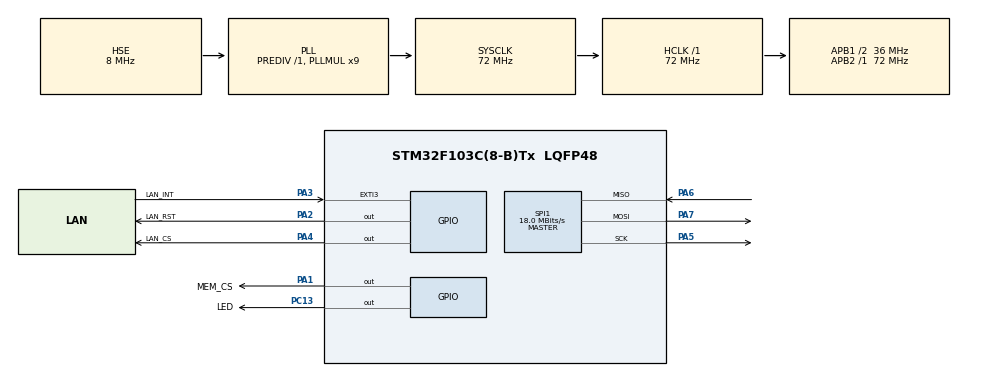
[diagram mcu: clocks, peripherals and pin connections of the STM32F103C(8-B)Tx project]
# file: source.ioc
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Mcu.Family=STM32F1
Mcu.Name=STM32F103C(8-B)Tx
Mcu.Package=LQFP48
NVIC.PriorityGroup=NVIC_PRIORITYGROUP_4
NVIC.RTC_IRQn=true\:0\:0\:false\:false\:true\:true
NVIC.TIM4_IRQn=true\:0\:0\:false\:false\:true\:true
PA1.GPIO_Label=MEM_CS
PA1.Signal=GPIO_Output
PA13.Mode=Serial_Wire
PA13.Signal=SYS_JTMS-SWDIO
PA14.Mode=Serial_Wire
PA14.Signal=SYS_JTCK-SWCLK
PA2.GPIO_Label=LAN_RST
PA2.Signal=GPIO_Output
PA3.GPIO_Label=LAN_INT
PA3.Signal=GPXTI3
PA4.GPIO_Label=LAN_CS
PA4.Signal=GPIO_Output
PA5.Mode=Full_Duplex_Master
PA5.Signal=SPI1_SCK
PA6.Mode=Full_Duplex_Master
PA6.Signal=SPI1_MISO
PA7.Mode=Full_Duplex_Master
PA7.Signal=SPI1_MOSI
PC13-TAMPER-RTC.GPIO_Label=LED
PC13-TAMPER-RTC.Signal=GPIO_Output
PC14-OSC32_IN.Mode=LSE-External-Oscillator
PC14-OSC32_IN.Signal=RCC_OSC32_IN
PC15-OSC32_OUT.Mode=LSE-External-Oscillator
PC15-OSC32_OUT.Signal=RCC_OSC32_OUT
PD0-OSC_IN.Mode=HSE-External-Oscillator
PD0-OSC_IN.Signal=RCC_OSC_IN
PD1-OSC_OUT.Mode=HSE-External-Oscillator
PD1-OSC_OUT.Signal=RCC_OSC_OUT
ProjectManager.HeapSize=0x200
ProjectManager.StackSize=0x400
ProjectManager.TargetToolchain=Other Toolchains (GPDSC)
RCC.AHBFreq_Value=72000000
RCC.APB1CLKDivider=RCC_HCLK_DIV2
RCC.APB1Freq_Value=36000000
RCC.APB1TimFreq_Value=72000000
RCC.APB2Freq_Value=72000000
RCC.APB2TimFreq_Value=72000000
RCC.HCLKFreq_Value=72000000
RCC.PLLMUL=RCC_PLL_MUL9
RCC.PLLSourceVirtual=RCC_PLLSOURCE_HSE
RCC.RTCClockSelection=RCC_RTCCLKSOURCE_LSE
RCC.SYSCLKFreq_VALUE=72000000
RCC.SYSCLKSource=RCC_SYSCLKSOURCE_PLLCLK
RCC.USBFreq_Value=72000000
RTC.Format=RTC_FORMAT_BCD
RTC.OutPut=RTC_OUTPUTSOURCE_NONE
SPI1.BaudRatePrescaler=SPI_BAUDRATEPRESCALER_4
SPI1.CalculateBaudRate=18.0 MBits/s
SPI1.Direction=SPI_DIRECTION_2LINES
SPI1.Mode=SPI_MODE_MASTER
SPI1.VirtualType=VM_MASTER
TIM4.AutoReloadPreload=TIM_AUTORELOAD_PRELOAD_ENABLE
TIM4.ClockDivision=TIM_CLOCKDIVISION_DIV1
TIM4.Period=999
TIM4.Prescaler=71
TIM4.TIM_MasterOutputTrigger=TIM_TRGO_UPDATE
VP_RTC_No_RTC_Output.Mode=RTC_OUT_NO
VP_RTC_VS_RTC_Activate.Mode=RTC_Enabled
VP_RTC_VS_RTC_Calendar.Mode=RTC_Calendar
VP_TIM4_VS_ClockSourceINT.Mode=Internal
board=source

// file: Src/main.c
/**
  ******************************************************************************
  * File Name          : main.c
  * Description        : Main program body
  ******************************************************************************
  ** This notice applies to any and all portions of this file
  * that are not between comment pairs USER CODE BEGIN and
  * USER CODE END. Other portions of this file, whether
  * inserted by the user or by software development tools
  * are owned by their respective copyright owners.
  *
  * COPYRIGHT(c) 2018 STMicroelectronics
  *
  * Redistribution and use in source and binary forms, with or without modification,
  * are permitted provided that the following conditions are met:
  *   1. Redistributions of source code must retain the above copyright notice,
  *      this list of conditions and the following disclaimer.
  *   2. Redistributions in binary form must reproduce the above copyright notice,
  *      this list of conditions and the following disclaimer in the documentation
  *      and/or other materials provided with the distribution.
  *   3. Neither the name of STMicroelectronics nor the names of its contributors
  *      may be used to endorse or promote products derived from this software
  *      without specific prior written permission.
  *
  * THIS SOFTWARE IS PROVIDED BY THE COPYRIGHT HOLDERS AND CONTRIBUTORS "AS IS"
  * AND ANY EXPRESS OR IMPLIED WARRANTIES, INCLUDING, BUT NOT LIMITED TO, THE
  * IMPLIED WARRANTIES OF MERCHANTABILITY AND FITNESS FOR A PARTICULAR PURPOSE ARE
  * DISCLAIMED. IN NO EVENT SHALL THE COPYRIGHT HOLDER OR CONTRIBUTORS BE LIABLE
  * FOR ANY DIRECT, INDIRECT, INCIDENTAL, SPECIAL, EXEMPLARY, OR CONSEQUENTIAL
  * DAMAGES (INCLUDING, BUT NOT LIMITED TO, PROCUREMENT OF SUBSTITUTE GOODS OR
  * SERVICES; LOSS OF USE, DATA, OR PROFITS; OR BUSINESS INTERRUPTION) HOWEVER
  * CAUSED AND ON ANY THEORY OF LIABILITY, WHETHER IN CONTRACT, STRICT LIABILITY,
  * OR TORT (INCLUDING NEGLIGENCE OR OTHERWISE) ARISING IN ANY WAY OUT OF THE USE
  * OF THIS SOFTWARE, EVEN IF ADVISED OF THE POSSIBILITY OF SUCH DAMAGE.
  *
  ******************************************************************************
  */

#include "main.h"
#include "stm32f1xx_hal.h"
#include "rtc.h"
#include "spi.h"
#include "tim.h"
#include "gpio.h"

/* USER CODE BEGIN Includes */
#include "network.h"
#include "MQTTClient.h"
#include "memory.h"
/* USER CODE END Includes */

/* USER CODE BEGIN PV */
/* Private variables ---------------------------------------------------------*/
MQTTMessage m;
u_int32_t msgCount;
u_int32_t msgCountTmp;
u_int8_t canSend;

uint8_t rdBuf[256];

/* USER CODE END PV */

void SystemClock_Config(void);

/* USER CODE BEGIN PFP */
/* Private function prototypes -----------------------------------------------*/

/* USER CODE END PFP */

/* USER CODE BEGIN 0 */

//interrrupt for every 1s
void HAL_RTCEx_RTCEventCallback(RTC_HandleTypeDef *hrtc)
{
	network_1s_callback();
	msgCount = msgCountTmp;
	msgCountTmp = 0;
	canSend = 3;
}

void HAL_TIM_PeriodElapsedCallback(TIM_HandleTypeDef *htim)
{
	network_1ms_callback();
}

void  memory_select(void)
{
	HAL_GPIO_WritePin(MEM_CS_GPIO_Port, MEM_CS_Pin, GPIO_PIN_RESET);
}

void  memory_deselect(void)
{
	HAL_GPIO_WritePin(MEM_CS_GPIO_Port, MEM_CS_Pin, GPIO_PIN_SET);
}

void memory_read(uint8_t* pBuf, uint16_t len)
{
	HAL_SPI_Receive(&hspi1, pBuf, len, HAL_MAX_DELAY);
}

void  memory_write(uint8_t* pBuf, uint16_t len)
{
	HAL_SPI_Transmit(&hspi1, pBuf, len, HAL_MAX_DELAY);
}
/* USER CODE END 0 */

int main(void)
{

  /* MCU Configuration----------------------------------------------------------*/

  /* Reset of all peripherals, Initializes the Flash interface and the Systick. */
  HAL_Init();

  /* Configure the system clock */
  SystemClock_Config();

  /* Initialize all configured peripherals */
  MX_GPIO_Init();
  MX_SPI1_Init();
  MX_RTC_Init();
  MX_TIM4_Init();

  /* USER CODE BEGIN 2 */
	networkInitStack nis = {
		.RESET_PORT = LAN_RST_GPIO_Port,
		.RESET_PIN = LAN_RST_Pin,
		.CS_PORT = LAN_CS_GPIO_Port,
		.CS_PIN = LAN_CS_Pin,
		.SPI = &hspi1,
		.LED_PORT = LED_GPIO_Port,
		.LED_PIN = LED_Pin
	};
	network_w5500_init(&nis);

	HAL_RTCEx_SetSecond_IT(&hrtc);
	HAL_TIM_Base_Start_IT(&htim4);

	reg_memchip_cs_cbfunc(memory_select, memory_deselect);
	reg_memchip_spiburst_cbfunc(memory_read, memory_write);

	memchip_reset();
	HAL_Delay(10);

	memchip_read_sfdp( rdBuf);
  /* USER CODE END 2 */

  /* Infinite loop */
	while (1)
	{

  /* USER CODE BEGIN 3 */

		//		network_w5500_run();

		//  HAL_GPIO_WritePin(LED_GPIO_Port, LED_Pin, GPIO_PIN_RESET);
		//		HAL_Delay(500);
		//		HAL_GPIO_WritePin(LED_GPIO_Port, LED_Pin, GPIO_PIN_SET);
		//		HAL_Delay(500);

	}
  /* USER CODE END 3 */

}

/** System Clock Configuration
*/
void SystemClock_Config(void)
{

  RCC_OscInitTypeDef RCC_OscInitStruct;
  RCC_ClkInitTypeDef RCC_ClkInitStruct;
  RCC_PeriphCLKInitTypeDef PeriphClkInit;

    /**Initializes the CPU, AHB and APB busses clocks
    */
  RCC_OscInitStruct.OscillatorType = RCC_OSCILLATORTYPE_HSE|RCC_OSCILLATORTYPE_LSE;
  RCC_OscInitStruct.HSEState = RCC_HSE_ON;
  RCC_OscInitStruct.HSEPredivValue = RCC_HSE_PREDIV_DIV1;
  RCC_OscInitStruct.LSEState = RCC_LSE_ON;
  RCC_OscInitStruct.HSIState = RCC_HSI_ON;
  RCC_OscInitStruct.PLL.PLLState = RCC_PLL_ON;
  RCC_OscInitStruct.PLL.PLLSource = RCC_PLLSOURCE_HSE;
  RCC_OscInitStruct.PLL.PLLMUL = RCC_PLL_MUL9;
  if (HAL_RCC_OscConfig(&RCC_OscInitStruct) != HAL_OK)
  {
    _Error_Handler(__FILE__, __LINE__);
  }

    /**Initializes the CPU, AHB and APB busses clocks
    */
  RCC_ClkInitStruct.ClockType = RCC_CLOCKTYPE_HCLK|RCC_CLOCKTYPE_SYSCLK
                              |RCC_CLOCKTYPE_PCLK1|RCC_CLOCKTYPE_PCLK2;
  RCC_ClkInitStruct.SYSCLKSource = RCC_SYSCLKSOURCE_PLLCLK;
  RCC_ClkInitStruct.AHBCLKDivider = RCC_SYSCLK_DIV1;
  RCC_ClkInitStruct.APB1CLKDivider = RCC_HCLK_DIV2;
  RCC_ClkInitStruct.APB2CLKDivider = RCC_HCLK_DIV1;

  if (HAL_RCC_ClockConfig(&RCC_ClkInitStruct, FLASH_LATENCY_2) != HAL_OK)
  {
    _Error_Handler(__FILE__, __LINE__);
  }

  PeriphClkInit.PeriphClockSelection = RCC_PERIPHCLK_RTC;
  PeriphClkInit.RTCClockSelection = RCC_RTCCLKSOURCE_LSE;
  if (HAL_RCCEx_PeriphCLKConfig(&PeriphClkInit) != HAL_OK)
  {
    _Error_Handler(__FILE__, __LINE__);
  }

    /**Configure the Systick interrupt time
    */
  HAL_SYSTICK_Config(HAL_RCC_GetHCLKFreq()/1000);

    /**Configure the Systick
    */
  HAL_SYSTICK_CLKSourceConfig(SYSTICK_CLKSOURCE_HCLK);

  /* SysTick_IRQn interrupt configuration */
  HAL_NVIC_SetPriority(SysTick_IRQn, 0, 0);
}

void _Error_Handler(char * file, int line)
{
	while (1)
	{
	}
}

/************************ (C) COPYRIGHT STMicroelectronics *****END OF FILE****/
